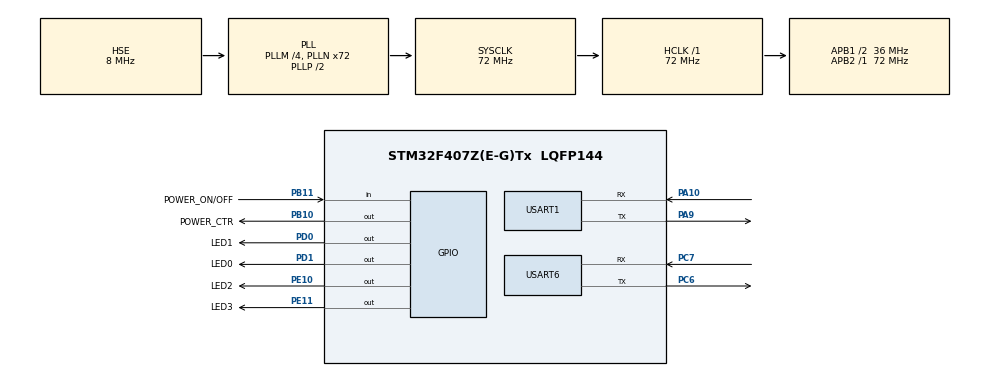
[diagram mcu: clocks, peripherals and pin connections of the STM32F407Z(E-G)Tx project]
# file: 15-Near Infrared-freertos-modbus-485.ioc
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FREERTOS.Tasks01=LED_Task,-3,128,Start_LED_Task,Default,NULL,Dynamic,NULL,NULL;PWR_Task,0,128,Start_PWR_Task,Default,NULL,Dynamic,NULL,NULL;BOOT_Task,-1,128,Start_BOOT_Task,Default,NULL,Dynamic,NULL,NULL
Mcu.Family=STM32F4
Mcu.Name=STM32F407Z(E-G)Tx
Mcu.Package=LQFP144
NVIC.PriorityGroup=NVIC_PRIORITYGROUP_4
NVIC.TIM2_IRQn=true\:5\:0\:false\:false\:true\:true\:true\:true\:true
NVIC.TIM7_IRQn=true\:15\:0\:false\:false\:true\:false\:false\:true\:true
NVIC.TimeBase=TIM7_IRQn
NVIC.TimeBaseIP=TIM7
NVIC.USART1_IRQn=true\:5\:0\:false\:false\:true\:true\:true\:true\:true
NVIC.USART6_IRQn=true\:6\:0\:true\:false\:true\:true\:true\:true\:true
PA10.Mode=Asynchronous
PA10.Signal=USART1_RX
PA13.Mode=Serial_Wire
PA13.Signal=SYS_JTMS-SWDIO
PA14.Mode=Serial_Wire
PA14.Signal=SYS_JTCK-SWCLK
PA9.Mode=Asynchronous
PA9.Signal=USART1_TX
PB10.GPIO_Label=POWER_CTR
PB10.GPIO_PuPd=GPIO_PULLDOWN
PB10.GPIO_Speed=GPIO_SPEED_FREQ_HIGH
PB10.PinState=GPIO_PIN_RESET
PB10.Signal=GPIO_Output
PB11.GPIO_Label=POWER_ON/OFF
PB11.GPIO_PuPd=GPIO_PULLUP
PB11.Signal=GPIO_Input
PC6.Mode=Asynchronous
PC6.Signal=USART6_TX
PC7.Mode=Asynchronous
PC7.Signal=USART6_RX
PD0.GPIO_Label=LED1
PD0.GPIO_PuPd=GPIO_PULLUP
PD0.GPIO_Speed=GPIO_SPEED_FREQ_HIGH
PD0.PinState=GPIO_PIN_SET
PD0.Signal=GPIO_Output
PD1.GPIO_Label=LED0
PD1.GPIO_PuPd=GPIO_PULLUP
PD1.GPIO_Speed=GPIO_SPEED_FREQ_HIGH
PD1.PinState=GPIO_PIN_SET
PD1.Signal=GPIO_Output
PE10.GPIO_Label=LED2
PE10.GPIO_PuPd=GPIO_PULLUP
PE10.GPIO_Speed=GPIO_SPEED_FREQ_HIGH
PE10.PinState=GPIO_PIN_SET
PE10.Signal=GPIO_Output
PE11.GPIO_Label=LED3
PE11.GPIO_PuPd=GPIO_PULLUP
PE11.GPIO_Speed=GPIO_SPEED_FREQ_HIGH
PE11.PinState=GPIO_PIN_SET
PE11.Signal=GPIO_Output
PH0-OSC_IN.Mode=HSE-External-Oscillator
PH0-OSC_IN.Signal=RCC_OSC_IN
PH1-OSC_OUT.Mode=HSE-External-Oscillator
PH1-OSC_OUT.Signal=RCC_OSC_OUT
ProjectManager.HeapSize=0x200
ProjectManager.StackSize=0x400
ProjectManager.TargetToolchain=MDK-ARM V5.32
RCC.48MHZClocksFreq_Value=36000000
RCC.AHBFreq_Value=72000000
RCC.APB1CLKDivider=RCC_HCLK_DIV2
RCC.APB1Freq_Value=36000000
RCC.APB1TimFreq_Value=72000000
RCC.APB2Freq_Value=72000000
RCC.APB2TimFreq_Value=72000000
RCC.CortexFreq_Value=72000000
RCC.HCLKFreq_Value=72000000
RCC.HSE_VALUE=8000000
RCC.HSI_VALUE=16000000
RCC.LSE_VALUE=32768
RCC.PLLM=4
RCC.PLLN=72
RCC.PLLSourceVirtual=RCC_PLLSOURCE_HSE
RCC.SYSCLKFreq_VALUE=72000000
RCC.SYSCLKSource=RCC_SYSCLKSOURCE_PLLCLK
RCC.VCOOutputFreq_Value=144000000
TIM2.Period=1750
TIM2.Prescaler=72-1
USART1.VirtualMode=VM_ASYNC
USART6.VirtualMode=VM_ASYNC
VP_FREERTOS_VS_CMSIS_V1.Mode=CMSIS_V1
VP_SYS_VS_tim7.Mode=TIM7
VP_TIM2_VS_ClockSourceINT.Mode=Internal
board=custom

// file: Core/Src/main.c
/* USER CODE BEGIN Header */
/**
  ******************************************************************************
  * @file           : main.c
  * @brief          : Main program body
  ******************************************************************************
  * @attention
  *
  * Copyright (c) 2024 STMicroelectronics.
  * All rights reserved.
  *
  * This software is licensed under terms that can be found in the LICENSE file
  * in the root directory of this software component.
  * If no LICENSE file comes with this software, it is provided AS-IS.
  *
  ******************************************************************************
  */
/* USER CODE END Header */
#include "main.h"
#include "cmsis_os.h"
#include "tim.h"
#include "usart.h"
#include "gpio.h"

/* USER CODE BEGIN Includes */
#include "modbus.h"
#include "string.h"
#include "stdio.h"

/* USER CODE END Includes */

void SystemClock_Config(void);
void MX_FREERTOS_Init(void);

int main(void)
{

  /* MCU Configuration--------------------------------------------------------*/

  /* Reset of all peripherals, Initializes the Flash interface and the Systick. */
  HAL_Init();

  /* Configure the system clock */
  SystemClock_Config();

  /* Initialize all configured peripherals */
  MX_GPIO_Init();
  MX_USART6_UART_Init();
  MX_TIM2_Init();
  MX_USART1_UART_Init();
  /* USER CODE BEGIN 2 */
  HAL_GPIO_WritePin(POWER_CTR_GPIO_Port,POWER_CTR_Pin,GPIO_PIN_SET);
  HAL_Delay(500);
  Modbus_Init();//本机作为从机使用时初始化
  HAL_TIM_Base_Start_IT(&htim2);
  printf("RS485_TEST_01\r\n");
  HAL_UART_Receive_IT(&huart6, (uint8_t *)&RES, 1);//调用接收中断函数

  /* USER CODE END 2 */

  /* Call init function for freertos objects (in freertos.c) */
  MX_FREERTOS_Init();
  /* Start scheduler */
  osKernelStart();

  /* We should never get here as control is now taken by the scheduler */
  /* Infinite loop */
  while (1)
  {

  }
}

void SystemClock_Config(void)
{
  RCC_OscInitTypeDef RCC_OscInitStruct = {0};
  RCC_ClkInitTypeDef RCC_ClkInitStruct = {0};

  /** Configure the main internal regulator output voltage
  */
  __HAL_RCC_PWR_CLK_ENABLE();
  __HAL_PWR_VOLTAGESCALING_CONFIG(PWR_REGULATOR_VOLTAGE_SCALE1);
  /** Initializes the RCC Oscillators according to the specified parameters
  * in the RCC_OscInitTypeDef structure.
  */
  RCC_OscInitStruct.OscillatorType = RCC_OSCILLATORTYPE_HSE;
  RCC_OscInitStruct.HSEState = RCC_HSE_ON;
  RCC_OscInitStruct.PLL.PLLState = RCC_PLL_ON;
  RCC_OscInitStruct.PLL.PLLSource = RCC_PLLSOURCE_HSE;
  RCC_OscInitStruct.PLL.PLLM = 4;
  RCC_OscInitStruct.PLL.PLLN = 72;
  RCC_OscInitStruct.PLL.PLLP = RCC_PLLP_DIV2;
  RCC_OscInitStruct.PLL.PLLQ = 4;
  if (HAL_RCC_OscConfig(&RCC_OscInitStruct) != HAL_OK)
  {
    Error_Handler();
  }
  /** Initializes the CPU, AHB and APB buses clocks
  */
  RCC_ClkInitStruct.ClockType = RCC_CLOCKTYPE_HCLK|RCC_CLOCKTYPE_SYSCLK
                              |RCC_CLOCKTYPE_PCLK1|RCC_CLOCKTYPE_PCLK2;
  RCC_ClkInitStruct.SYSCLKSource = RCC_SYSCLKSOURCE_PLLCLK;
  RCC_ClkInitStruct.AHBCLKDivider = RCC_SYSCLK_DIV1;
  RCC_ClkInitStruct.APB1CLKDivider = RCC_HCLK_DIV2;
  RCC_ClkInitStruct.APB2CLKDivider = RCC_HCLK_DIV1;

  if (HAL_RCC_ClockConfig(&RCC_ClkInitStruct, FLASH_LATENCY_2) != HAL_OK)
  {
    Error_Handler();
  }
}

void HAL_TIM_PeriodElapsedCallback(TIM_HandleTypeDef *htim)
{
  if (htim->Instance == TIM7) {
    HAL_IncTick();
  }
  /* USER CODE BEGIN Callback 1 */

	if (htim->Instance == htim2.Instance)
	{

 		if(modbus.timrun != 0)//运行时间！=0表明
 		 {
 		  modbus.timout++;
 		  if(modbus.timout >=8)
 		  {
 		   modbus.timrun = 0;
 			 modbus.reflag = 1;//接收数据完毕
 		  }
 		}
 		modbus.Host_Sendtime++;//发送完上一帧后的时间计数
		if(modbus.Host_Sendtime>1000)//距离发送上一帧数据1s了
		{
			//1s时间到
			modbus.Host_time_flag=1;//发送数据标志位置1

		}
	}

  /* USER CODE END Callback 1 */
}

void Error_Handler(void)
{
  __disable_irq();
  while (1)
  {
  }
}

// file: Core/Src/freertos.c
/* USER CODE BEGIN Header */
/**
  ******************************************************************************
  * File Name          : freertos.c
  * Description        : Code for freertos applications
  ******************************************************************************
  * @attention
  *
  * Copyright (c) 2024 STMicroelectronics.
  * All rights reserved.
  *
  * This software is licensed under terms that can be found in the LICENSE file
  * in the root directory of this software component.
  * If no LICENSE file comes with this software, it is provided AS-IS.
  *
  ******************************************************************************
  */
/* USER CODE END Header */

#include "FreeRTOS.h"
#include "task.h"
#include "main.h"
#include "cmsis_os.h"

/* USER CODE BEGIN Includes */
#include "PWR_ON_OFF.h"
#include "modbus.h"
#include "string.h"
#include "stdio.h"

/* USER CODE END Includes */

osThreadId LED_TaskHandle;
osThreadId PWR_TaskHandle;
osThreadId BOOT_TaskHandle;

void Start_LED_Task(void const * argument);
void Start_PWR_Task(void const * argument);
void Start_BOOT_Task(void const * argument);

void MX_FREERTOS_Init(void); /* (MISRA C 2004 rule 8.1) */

/* GetIdleTaskMemory prototype (linked to static allocation support) */
void vApplicationGetIdleTaskMemory( StaticTask_t **ppxIdleTaskTCBBuffer, StackType_t **ppxIdleTaskStackBuffer, uint32_t *pulIdleTaskStackSize );

/* USER CODE BEGIN GET_IDLE_TASK_MEMORY */
static StaticTask_t xIdleTaskTCBBuffer;
static StackType_t xIdleStack[configMINIMAL_STACK_SIZE];

void vApplicationGetIdleTaskMemory( StaticTask_t **ppxIdleTaskTCBBuffer, StackType_t **ppxIdleTaskStackBuffer, uint32_t *pulIdleTaskStackSize )
{
    *ppxIdleTaskTCBBuffer = &xIdleTaskTCBBuffer;
    *ppxIdleTaskStackBuffer = &xIdleStack[0];
    *pulIdleTaskStackSize = configMINIMAL_STACK_SIZE;
    /* place for user code */
}
/* USER CODE END GET_IDLE_TASK_MEMORY */

void MX_FREERTOS_Init(void) {

    /* Create the thread(s) */
    /* definition and creation of LED_Task */
    osThreadDef(LED_Task, Start_LED_Task, osPriorityNormal, 0, 128);
    LED_TaskHandle = osThreadCreate(osThread(LED_Task), NULL);

    /* definition and creation of PWR_Task */
    osThreadDef(PWR_Task, Start_PWR_Task, osPriorityNormal, 0, 128);
    PWR_TaskHandle = osThreadCreate(osThread(PWR_Task), NULL);

    /* definition and creation of BOOT_Task */
    osThreadDef(BOOT_Task, Start_BOOT_Task, osPriorityBelowNormal, 0, 128);
    BOOT_TaskHandle = osThreadCreate(osThread(BOOT_Task), NULL);

}

void Start_LED_Task(void const * argument)
{
    /* USER CODE BEGIN Start_LED_Task */
    /* Infinite loop */
    for(;;)
    {
        HAL_GPIO_TogglePin(LED2_GPIO_Port,LED2_Pin);
        HAL_GPIO_TogglePin(LED3_GPIO_Port,LED3_Pin);
        osDelay(500);
    }
    /* USER CODE END Start_LED_Task */
}

void Start_PWR_Task(void const * argument)
{
    /* USER CODE BEGIN Start_PWR_Task */
    /* Infinite loop */
    for(;;)
    {
        PWR_ON_OFF();
        osDelay(20);
    }
    /* USER CODE END Start_PWR_Task */
}

void Start_BOOT_Task(void const * argument)
{
    /* USER CODE BEGIN Start_BOOT_Task */
    /* Infinite loop */
    for(;;)
    {
        if(modbus.Host_time_flag)//每1s发送一次数据
        {
            //01-读取从机数据测试
            //参数1：查看第i个从机数据
//            Host_Read03_slave(0x01,0x0000,0x0003);//参数1从机地址，参数2起始地址，参数3寄存器个数
//            if(modbus.Host_send_flag)
//            {
//                modbus.Host_Sendtime=0;//发送完毕后计数清零（距离上次的时间）
//                modbus.Host_time_flag=0;//发送数据标志位清零
//                modbus.Host_send_flag=0;//清空发送结束数据标志位

//                HOST_ModbusRX();//接收数据进行处理
//            }
					//02-写入数据测试
//					Host_write06_slave(0x01,0x06,0x0001,0x0045);
//					if(modbus.Host_send_flag)
//					{
//						modbus.Host_Sendtime=0;//发送完毕后计数清零（距离上次的时间）
//						modbus.Host_time_flag=0;//发送数据标志位清零
//						modbus.Host_send_flag=0;//清空发送结束数据标志位
//						Host_Func6();//从机返回数据处理
//					}
			//03-写入多个数据测试-作为主机使用
//			Host_write10_slave(0x01,0x10,0x0001,0x0002,0x04,0x0102,0x0305);
//			Host_write06_slave(0x01,0x06,0x0001,0x0045);
//			if(modbus.Host_send_flag)
//			{
//				modbus.Host_Sendtime=0;//发送完毕后计数清零（距离上次的时间）
//				modbus.Host_time_flag=0;//发送数据标志位清零
//				modbus.Host_send_flag=0;//清空发送结束数据标志位
//				Host_Func10();//从机返回数据处理
//			}

			//4-作为从机使用
			Modbus_Event();//本机作为从机使用时

//
//
//
        }
//			printf("接收到的数据是：%d\r\n",&RES);
//			osDelay(1000);
//		HAL_Delay(1000);

    }
    /* USER CODE END Start_BOOT_Task */
}
